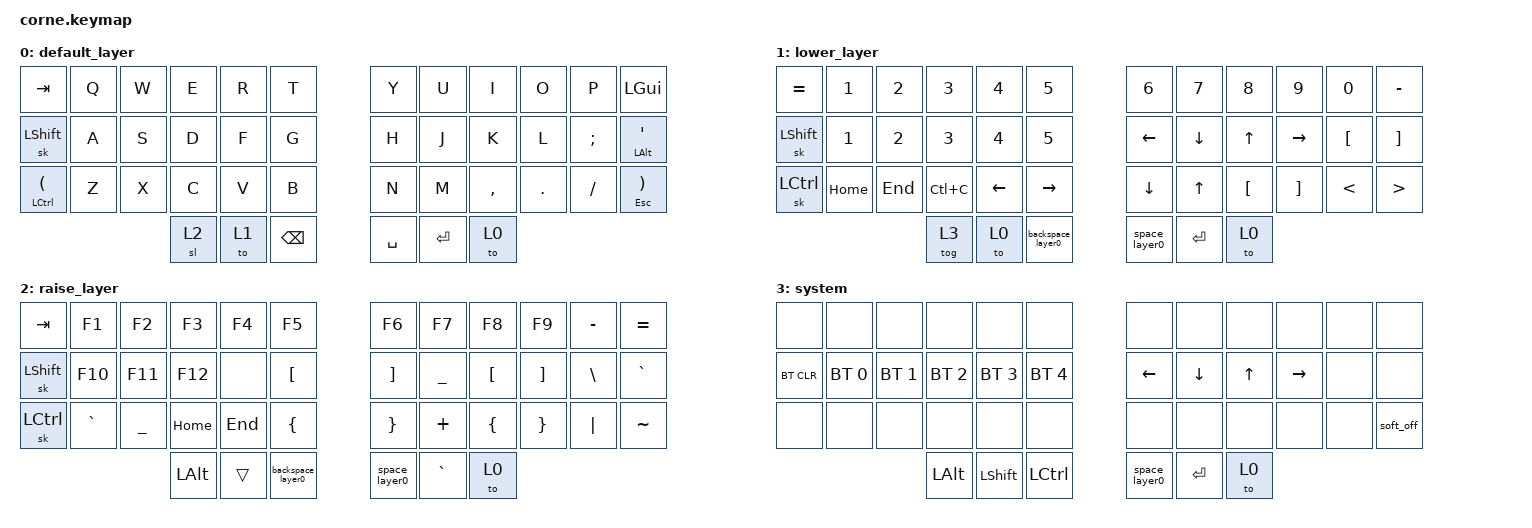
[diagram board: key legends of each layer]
/*
 * Copyright (c) 2020 The ZMK Contributors
 *
 * SPDX-License-Identifier: MIT
 */

#include <behaviors.dtsi>
#include <dt-bindings/zmk/bt.h>
#include <dt-bindings/zmk/keys.h>

/ {
    combos {
        compatible = "zmk,combos";

        arrows {
            bindings = <&to 3>;
            key-positions = <18 19 20 21>;
            layers = <0>;
        };
    };

    macros {
        brackets: brackets {
            compatible = "zmk,behavior-macro";
            label = "BRACKETS";
            #binding-cells = <0>;
            bindings = <&kp LEFT_PARENTHESIS &kp RIGHT_PARENTHESIS &kp LEFT_ARROW>;
        };

        vscodeterm: vscodeterm {
            compatible = "zmk,behavior-macro";
            #binding-cells = <0>;
            bindings = <&kt ESCAPE &kp GRAVE &kt ESC>;
            label = "VSCODETERM";
        };

        backspace_layer0: backspace_layer0 {
            compatible = "zmk,behavior-macro";
            #binding-cells = <0>;
            bindings = <&kp BACKSPACE &to 0>;
            label = "BACKSPACE_LAYER0";
        };

        space_layer0: space_layer0 {
            compatible = "zmk,behavior-macro";
            #binding-cells = <0>;
            bindings = <&kp SPACE &to 0>;
            label = "SPACE_LAYER0";
        };
    };

    keymap {
        compatible = "zmk,keymap";

        default_layer {
            // -----------------------------------------------------------------------------------------
            // |  TAB      |  Q  |  W  |  E  |  R       |  T  |   |  Y  |  U       |  I  |  O  |  P  | BKSP |
            // | CTRL      |  A  |  S  |  D  |  SHFT F  |  G  |   |  H  | SHFT J   |  K  |  L  |  ;  |  '   |
            // | SHFT LPAR |  Z  |  X  |  C  |  V       |  B  |   |  N  |  M       |  ,  |  .  |  /  | ESC RPAR |
            //                    | GUI | LWR | SPC |   | ENT | RSE  | ALT |

            bindings = <
&kp TAB         &kp Q  &kp W  &kp E  &kp R  &kp T            &kp Y      &kp U    &kp I      &kp O    &kp P     &kp LEFT_GUI
&sk LEFT_SHIFT  &kp A  &kp S  &kp D  &kp F  &kp G            &kp H      &kp J    &kp K      &kp L    &kp SEMI  &mt LEFT_ALT APOS
&mt LCTRL LPAR  &kp Z  &kp X  &kp C  &kp V  &kp B            &kp N      &kp M    &kp COMMA  &kp DOT  &kp FSLH  &mt ESCAPE RIGHT_PARENTHESIS
                              &sl 2  &to 1  &kp BACKSPACE    &kp SPACE  &kp RET  &to 0
            >;
        };

        lower_layer {
            // -----------------------------------------------------------------------------------------
            // |  TAB |  1  |  2  |  3  |  4  |  5  |   |  6  |  7  |  8  |  9  |  0  | BKSP |
            // | BTCLR| BT1 | BT2 | BT3 | BT4 | BT5 |   |     | LFT | DWN |  UP | RGT |      |     
            // | SHFT |     |     |     |     |     |   |     |     |     |     |     | CAPS |
            //                    | GUI |     | SPC |   | ENT |     | ALT |

            bindings = <
&kp EQUAL       &kp NUMBER_1  &kp NUMBER_2  &kp NUMBER_3  &kp NUMBER_4  &kp N5               &kp NUMBER_6    &kp N7        &kp N8            &kp N9             &kp N0            &kp MINUS
&sk LEFT_SHIFT  &kp NUMBER_1  &kp NUMBER_2  &kp NUMBER_3  &kp NUMBER_4  &kp NUMBER_5         &kp LEFT        &kp DOWN      &kp UP_ARROW      &kp RIGHT          &kp LEFT_BRACKET  &kp RIGHT_BRACKET
&sk LCTRL       &kp HOME      &kp END       &kp LC(C)     &kp LEFT      &kp RIGHT            &kp DOWN_ARROW  &kp UP_ARROW  &kp LEFT_BRACKET  &kp RIGHT_BRACKET  &kp LESS_THAN     &kp GREATER_THAN
                                            &tog 3        &to 0         &backspace_layer0    &space_layer0   &kp RET       &to 0
            >;
        };

        raise_layer {
            // -----------------------------------------------------------------------------------------
            // |  TAB |  !  |  @  |  #  |  $  |  %  |   |  ^  |  &  |  *  |  (  |  )  | DEL |
            // | CTRL |     |     |     |     | F5  |   |  -  |  =  |  [  |  ]  |  \  |  `   |
            // | SHFT |     |     |     |     |     |   |  _  |  +  |  {  |  }  | "|" |  ~   |
            //                    | GUI |     | SPC |   | ENT |     | ALT |

            bindings = <
&kp TAB         &kp F1     &kp F2          &kp F3        &kp F4   &kp F5               &kp F6             &kp F7     &kp F8    &kp F9    &kp MINUS  &kp EQUAL
&sk LEFT_SHIFT  &kp F10    &kp F11         &kp F12       &none    &kp LEFT_BRACKET     &kp RIGHT_BRACKET  &kp UNDER  &kp LBKT  &kp RBKT  &kp BSLH   &kp GRAVE
&sk LCTRL       &kp GRAVE  &kp UNDERSCORE  &kp HOME      &kp END  &kp LEFT_BRACE       &kp RIGHT_BRACE    &kp PLUS   &kp LBRC  &kp RBRC  &kp PIPE   &kp TILDE
                                           &kp LEFT_ALT  &trans   &backspace_layer0    &space_layer0      &kp GRAVE  &to 0
            >;
        };

        system {
            bindings = <
&none       &none         &none         &none         &none           &none           &none           &none           &none         &none      &none  &none
&bt BT_CLR  &bt BT_SEL 0  &bt BT_SEL 1  &bt BT_SEL 2  &bt BT_SEL 3    &bt BT_SEL 4    &kp LEFT_ARROW  &kp DOWN_ARROW  &kp UP_ARROW  &kp RIGHT  &none  &none
&none       &none         &none         &none         &none           &none           &none           &none           &none         &none      &none  &soft_off
                                        &kp LEFT_ALT  &kp LEFT_SHIFT  &kp LCTRL       &space_layer0   &kp ENTER       &to 0
            >;
        };
    };
};
